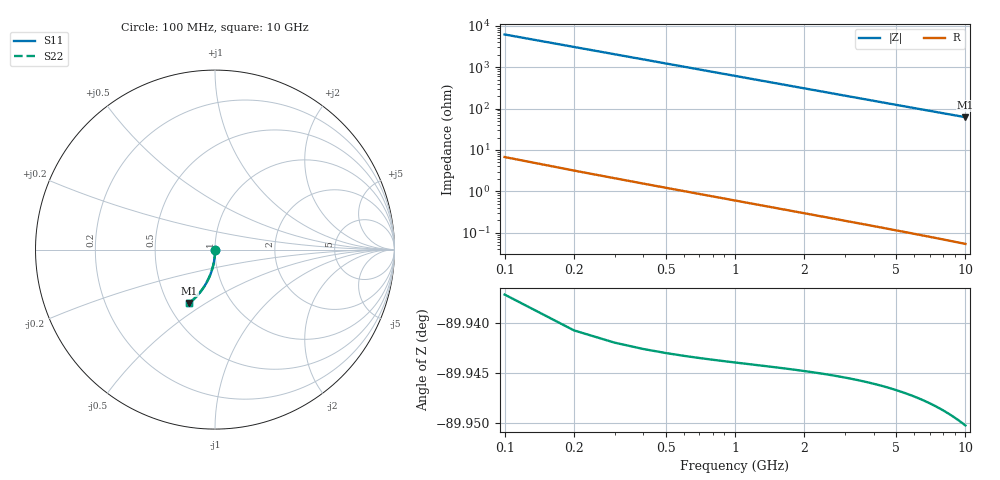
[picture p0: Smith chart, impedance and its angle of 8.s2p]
# Hz S RI R 50.00
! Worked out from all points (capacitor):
!   100 points, 100 MHz to 10 GHz, reference 50 ohm
!   read as one part in shunt: C = 258 fF near 100 MHz
!   lowest |Z| = 62 ohm at 10 GHz (marker M1)
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1e8  0.000269 -0.00352  0.9997 -0.0046  0.9997 -0.0046  0.000269 -0.00352
2e8  0.000218 -0.00703  0.9996 -0.00921  0.9996 -0.00921  0.000218 -0.00703
3e8  0.000135 -0.0105  0.9995 -0.0138  0.9995 -0.0138  0.000135 -0.0105
4e8  1.88e-05 -0.0141  0.9994 -0.0184  0.9994 -0.0184  1.88e-05 -0.0141
5e8  -0.00013 -0.0176  0.9993 -0.023  0.9993 -0.023  -0.00013 -0.0176
6e8  -0.000311 -0.0211  0.9991 -0.0276  0.9991 -0.0276  -0.000311 -0.0211
7e8  -0.000524 -0.0246  0.9989 -0.0322  0.9989 -0.0322  -0.000524 -0.0246
8e8  -0.00077 -0.0281  0.9986 -0.0368  0.9986 -0.0368  -0.00077 -0.0281
9e8  -0.00105 -0.0316  0.9983 -0.0414  0.9983 -0.0414  -0.00105 -0.0316
1.1e9  -0.0017 -0.0386  0.9976 -0.0506  0.9976 -0.0506  -0.0017 -0.0386
1.4e9  -0.00292 -0.0491  0.9964 -0.0643  0.9964 -0.0643  -0.00292 -0.0491
1.8e9  -0.00499 -0.063  0.9942 -0.0825  0.9942 -0.0825  -0.00499 -0.063
2.1e9  -0.00688 -0.0733  0.9922 -0.0962  0.9922 -0.0962  -0.00688 -0.0733
2.5e9  -0.00984 -0.087  0.9892 -0.1142  0.9892 -0.1142  -0.00984 -0.087
2.9e9  -0.0133 -0.1006  0.9856 -0.1321  0.9856 -0.1321  -0.0133 -0.1006
3.4e9  -0.0183 -0.1173  0.9804 -0.1543  0.9804 -0.1543  -0.0183 -0.1173
4.2e9  -0.0278 -0.1434  0.9705 -0.1892  0.9705 -0.1892  -0.0278 -0.1434
5.1e9  -0.0406 -0.1717  0.9572 -0.2273  0.9572 -0.2273  -0.0406 -0.1717
5.9e9  -0.0538 -0.1956  0.9435 -0.26  0.9435 -0.26  -0.0538 -0.1956
6.7e9  -0.0685 -0.2184  0.9281 -0.2916  0.9281 -0.2916  -0.0685 -0.2184
8.4e9  -0.1043 -0.2622  0.8908 -0.3543  0.8908 -0.3543  -0.1043 -0.2622
1e10  -0.1423 -0.2974  0.8509 -0.4073  0.8509 -0.4073  -0.1423 -0.2974
